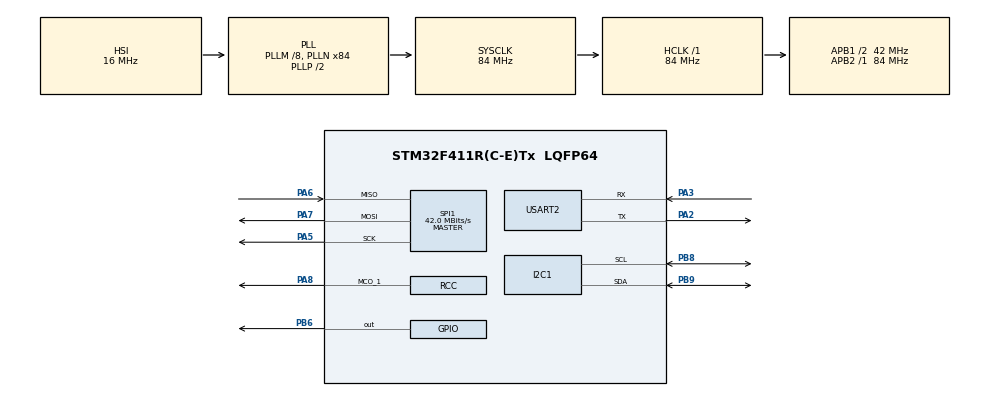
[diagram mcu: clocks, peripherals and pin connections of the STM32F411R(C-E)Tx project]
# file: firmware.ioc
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Mcu.Family=STM32F4
Mcu.Name=STM32F411R(C-E)Tx
Mcu.Package=LQFP64
NVIC.PriorityGroup=NVIC_PRIORITYGROUP_4
PA2.Mode=Asynchronous
PA2.Signal=USART2_TX
PA3.Mode=Asynchronous
PA3.Signal=USART2_RX
PA5.Mode=Full_Duplex_Master
PA5.Signal=SPI1_SCK
PA6.Mode=Full_Duplex_Master
PA6.Signal=SPI1_MISO
PA7.Mode=Full_Duplex_Master
PA7.Signal=SPI1_MOSI
PA8.Mode=Clock-out-1
PA8.Signal=RCC_MCO_1
PB6.Signal=GPIO_Output
PB8.GPIO_Pu=GPIO_PULLUP
PB8.Mode=I2C
PB8.Signal=I2C1_SCL
PB9.Mode=I2C
PB9.Signal=I2C1_SDA
ProjectManager.HeapSize=0x200
ProjectManager.StackSize=0x400
ProjectManager.TargetToolchain=Makefile
RCC.48MHZClocksFreq_Value=42000000
RCC.AHBFreq_Value=84000000
RCC.APB1CLKDivider=RCC_HCLK_DIV2
RCC.APB1Freq_Value=42000000
RCC.APB1TimFreq_Value=84000000
RCC.APB2Freq_Value=84000000
RCC.APB2TimFreq_Value=84000000
RCC.CortexFreq_Value=84000000
RCC.HCLKFreq_Value=84000000
RCC.HSE_VALUE=25000000
RCC.HSI_VALUE=16000000
RCC.LSE_VALUE=32768
RCC.PLLM=8
RCC.PLLN=84
RCC.SYSCLKFreq_VALUE=84000000
RCC.SYSCLKSource=RCC_SYSCLKSOURCE_PLLCLK
RCC.VCOOutputFreq_Value=168000000
SPI1.CalculateBaudRate=42.0 MBits/s
SPI1.Direction=SPI_DIRECTION_2LINES
SPI1.Mode=SPI_MODE_MASTER
SPI1.VirtualType=VM_MASTER
USART2.VirtualMode=VM_ASYNC
board=custom

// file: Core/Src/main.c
/* USER CODE BEGIN Header */
/**
  ******************************************************************************
  * @file           : main.c
  * @brief          : Main program body
  ******************************************************************************
  * @attention
  *
  * Copyright (c) 2026 STMicroelectronics.
  * All rights reserved.
  *
  * This software is licensed under terms that can be found in the LICENSE file
  * in the root directory of this software component.
  * If no LICENSE file comes with this software, it is provided AS-IS.
  *
  ******************************************************************************
  */
/* USER CODE END Header */
#include "main.h"

/* USER CODE BEGIN Includes */
#include <stdio.h>
/* USER CODE END Includes */

I2C_HandleTypeDef hi2c1;

SPI_HandleTypeDef hspi1;

UART_HandleTypeDef huart2;

void SystemClock_Config(void);
static void MX_GPIO_Init(void);
static void MX_I2C1_Init(void);
static void MX_SPI1_Init(void);
static void MX_USART2_UART_Init(void);

/* USER CODE BEGIN 0 */
int _write(int fd, char *p, int n) {
    (void)fd;
    HAL_UART_Transmit(&huart2, (uint8_t*)p, (uint16_t)n, HAL_MAX_DELAY);
    return n;
}

void Hardware_BringUp_Check(void) {
    printf("[INIT] Scanning I2C1 bus (PB8=SCL, PB9=SDA)...\r\n");
    uint8_t found = 0;
    for (uint8_t addr = 1; addr < 128; addr++) {
        if (HAL_I2C_IsDeviceReady(&hi2c1, (uint16_t)(addr << 1), 2, 10) == HAL_OK) {
            printf("  -> [HAL_OK] Found I2C device at 0x%02X\r\n", addr);
            found++;
        }
    }
    if (found == 0) {
        printf("  -> [WARN] No I2C ACK received (check wiring)\r\n");
    }

    // Перевірка читання JEDEC ID (0x9F) з флешки W25QXX по SPI1 (CS = PB6 / D10)
    uint8_t cmd = 0x9F;
    uint8_t id[3] = {0};
    HAL_GPIO_WritePin(GPIOB, GPIO_PIN_6, GPIO_PIN_RESET); // CS Low
    HAL_SPI_Transmit(&hspi1, &cmd, 1, 50);
    if (HAL_SPI_Receive(&hspi1, id, 3, 50) == HAL_OK) {
        printf("[INIT] SPI1 W25QXX JEDEC ID: 0x%02X 0x%02X 0x%02X [HAL_OK]\r\n", id[0], id[1], id[2]);
    }
    HAL_GPIO_WritePin(GPIOB, GPIO_PIN_6, GPIO_PIN_SET);   // CS High
}
/* USER CODE END 0 */

int main(void)
{

  /* MCU Configuration--------------------------------------------------------*/

  /* Reset of all peripherals, Initializes the Flash interface and the Systick. */
  HAL_Init();

  /* Configure the system clock */
  SystemClock_Config();

  /* Initialize all configured peripherals */
  MX_GPIO_Init();
  MX_I2C1_Init();
  MX_SPI1_Init();
  MX_USART2_UART_Init();
  /* USER CODE BEGIN 2 */
  setvbuf(stdout, NULL, _IONBF, 0);
  printf("\r\n========================================\r\n");
  printf("hello from STM32 Nucleo-F411RE!\r\n");
  Hardware_BringUp_Check();
  printf("========================================\r\n");
  /* USER CODE END 2 */

  /* Infinite loop */
  /* USER CODE BEGIN WHILE */
  while (1)
  {
    HAL_Delay(1000);
    printf("tick %lu\r\n", HAL_GetTick() / 1000);
    /* USER CODE END WHILE */

  }
}

void SystemClock_Config(void)
{
  RCC_OscInitTypeDef RCC_OscInitStruct = {0};
  RCC_ClkInitTypeDef RCC_ClkInitStruct = {0};

  /** Configure the main internal regulator output voltage
  */
  __HAL_RCC_PWR_CLK_ENABLE();
  __HAL_PWR_VOLTAGESCALING_CONFIG(PWR_REGULATOR_VOLTAGE_SCALE1);

  /** Initializes the RCC Oscillators according to the specified parameters
  * in the RCC_OscInitTypeDef structure.
  */
  RCC_OscInitStruct.OscillatorType = RCC_OSCILLATORTYPE_HSI;
  RCC_OscInitStruct.HSIState = RCC_HSI_ON;
  RCC_OscInitStruct.HSICalibrationValue = RCC_HSICALIBRATION_DEFAULT;
  RCC_OscInitStruct.PLL.PLLState = RCC_PLL_ON;
  RCC_OscInitStruct.PLL.PLLSource = RCC_PLLSOURCE_HSI;
  RCC_OscInitStruct.PLL.PLLM = 8;
  RCC_OscInitStruct.PLL.PLLN = 84;
  RCC_OscInitStruct.PLL.PLLP = RCC_PLLP_DIV2;
  RCC_OscInitStruct.PLL.PLLQ = 4;
  if (HAL_RCC_OscConfig(&RCC_OscInitStruct) != HAL_OK)
  {
    Error_Handler();
  }

  /** Initializes the CPU, AHB and APB buses clocks
  */
  RCC_ClkInitStruct.ClockType = RCC_CLOCKTYPE_HCLK|RCC_CLOCKTYPE_SYSCLK
                              |RCC_CLOCKTYPE_PCLK1|RCC_CLOCKTYPE_PCLK2;
  RCC_ClkInitStruct.SYSCLKSource = RCC_SYSCLKSOURCE_PLLCLK;
  RCC_ClkInitStruct.AHBCLKDivider = RCC_SYSCLK_DIV1;
  RCC_ClkInitStruct.APB1CLKDivider = RCC_HCLK_DIV2;
  RCC_ClkInitStruct.APB2CLKDivider = RCC_HCLK_DIV1;

  if (HAL_RCC_ClockConfig(&RCC_ClkInitStruct, FLASH_LATENCY_2) != HAL_OK)
  {
    Error_Handler();
  }
  HAL_RCC_MCOConfig(RCC_MCO1, RCC_MCO1SOURCE_HSI, RCC_MCODIV_1);
}

static void MX_I2C1_Init(void)
{

  hi2c1.Instance = I2C1;
  hi2c1.Init.ClockSpeed = 100000;
  hi2c1.Init.DutyCycle = I2C_DUTYCYCLE_2;
  hi2c1.Init.OwnAddress1 = 0;
  hi2c1.Init.AddressingMode = I2C_ADDRESSINGMODE_7BIT;
  hi2c1.Init.DualAddressMode = I2C_DUALADDRESS_DISABLE;
  hi2c1.Init.OwnAddress2 = 0;
  hi2c1.Init.GeneralCallMode = I2C_GENERALCALL_DISABLE;
  hi2c1.Init.NoStretchMode = I2C_NOSTRETCH_DISABLE;
  if (HAL_I2C_Init(&hi2c1) != HAL_OK)
  {
    Error_Handler();
  }

}

static void MX_SPI1_Init(void)
{

  /* SPI1 parameter configuration*/
  hspi1.Instance = SPI1;
  hspi1.Init.Mode = SPI_MODE_MASTER;
  hspi1.Init.Direction = SPI_DIRECTION_2LINES;
  hspi1.Init.DataSize = SPI_DATASIZE_8BIT;
  hspi1.Init.CLKPolarity = SPI_POLARITY_LOW;
  hspi1.Init.CLKPhase = SPI_PHASE_1EDGE;
  hspi1.Init.NSS = SPI_NSS_SOFT;
  hspi1.Init.BaudRatePrescaler = SPI_BAUDRATEPRESCALER_2;
  hspi1.Init.FirstBit = SPI_FIRSTBIT_MSB;
  hspi1.Init.TIMode = SPI_TIMODE_DISABLE;
  hspi1.Init.CRCCalculation = SPI_CRCCALCULATION_DISABLE;
  hspi1.Init.CRCPolynomial = 10;
  if (HAL_SPI_Init(&hspi1) != HAL_OK)
  {
    Error_Handler();
  }

}

static void MX_USART2_UART_Init(void)
{

  huart2.Instance = USART2;
  huart2.Init.BaudRate = 115200;
  huart2.Init.WordLength = UART_WORDLENGTH_8B;
  huart2.Init.StopBits = UART_STOPBITS_1;
  huart2.Init.Parity = UART_PARITY_NONE;
  huart2.Init.Mode = UART_MODE_TX_RX;
  huart2.Init.HwFlowCtl = UART_HWCONTROL_NONE;
  huart2.Init.OverSampling = UART_OVERSAMPLING_16;
  if (HAL_UART_Init(&huart2) != HAL_OK)
  {
    Error_Handler();
  }

}

static void MX_GPIO_Init(void)
{
  GPIO_InitTypeDef GPIO_InitStruct = {0};

  /* GPIO Ports Clock Enable */
  __HAL_RCC_GPIOA_CLK_ENABLE();
  __HAL_RCC_GPIOB_CLK_ENABLE();

  /*Configure GPIO pin Output Level */
  HAL_GPIO_WritePin(GPIOB, GPIO_PIN_6, GPIO_PIN_RESET);

  /*Configure GPIO pin : PA8 */
  GPIO_InitStruct.Pin = GPIO_PIN_8;
  GPIO_InitStruct.Mode = GPIO_MODE_AF_PP;
  GPIO_InitStruct.Pull = GPIO_NOPULL;
  GPIO_InitStruct.Speed = GPIO_SPEED_FREQ_LOW;
  GPIO_InitStruct.Alternate = GPIO_AF0_MCO;
  HAL_GPIO_Init(GPIOA, &GPIO_InitStruct);

  /*Configure GPIO pin : PB6 */
  GPIO_InitStruct.Pin = GPIO_PIN_6;
  GPIO_InitStruct.Mode = GPIO_MODE_OUTPUT_PP;
  GPIO_InitStruct.Pull = GPIO_NOPULL;
  GPIO_InitStruct.Speed = GPIO_SPEED_FREQ_LOW;
  HAL_GPIO_Init(GPIOB, &GPIO_InitStruct);

}

void Error_Handler(void)
{
  __disable_irq();
  while (1)
  {
  }
}
